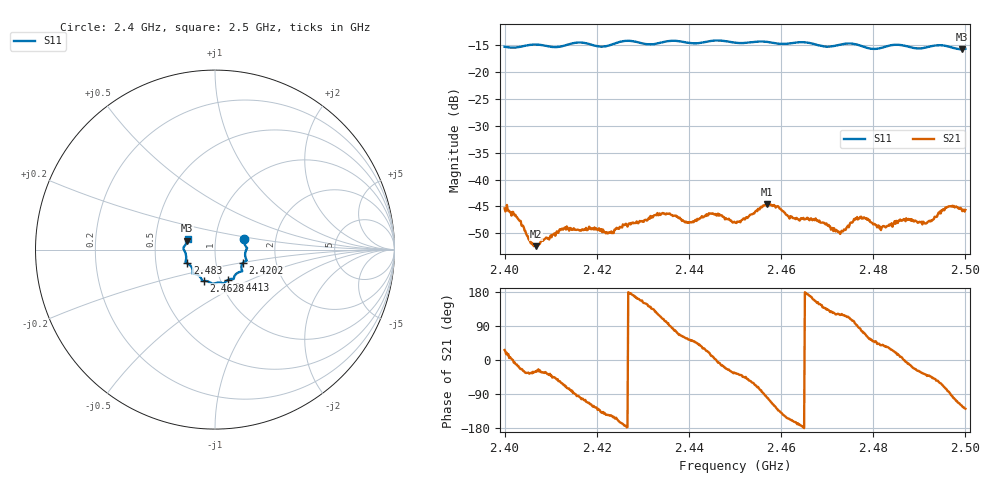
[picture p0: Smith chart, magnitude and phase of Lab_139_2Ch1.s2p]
# Hz S RI R 50
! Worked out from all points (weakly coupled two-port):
!   601 points, 2.4 GHz to 2.5 GHz, reference 50 ohm
!   highest |S21| = -44.57 dB at 2.457 GHz (marker M1); lowest = -52.4 dB at 2.4068 GHz (marker M2)
!   lowest |S11| = -15.8 dB at 2.4993 GHz (marker M3), VSWR 1.39, Z = 36.5 + j3.71 ohm
!   |S11| at or under -10 dB: start of sweep to end of sweep
!   S12 and S22 are empty: the file has one direction only
!   S11 on the Smith chart (normalised r, x): 2.4 GHz: 1.37, +0.16; 2.4202 GHz: 1.35, -0.20; 2.4413 GHz: 1.09, -0.38; 2.4628 GHz: 0.83, -0.30; 2.483 GHz: 0.72, -0.11; 2.5 GHz: 0.73, +0.09
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2.4e9  0.1606 0.0572  0.00483 0.0024  0 0  0 0
2.402167e9  0.164 0.0337  0.00462 -0.000484  0 0  0 0
2.406833e9  0.1789 0.00777  0.00206 -0.00125  0 0  0 0
2.4125e9  0.1686 -0.0373  0.00166 -0.00309  0 0  0 0
2.416667e9  0.1762 -0.0614  -0.000783 -0.00327  0 0  0 0
2.420167e9  0.1563 -0.0727  -0.00223 -0.00255  0 0  0 0
2.423167e9  0.147 -0.1007  -0.00276 -0.00182  0 0  0 0
2.433333e9  0.1081 -0.1486  -0.00231 0.00405  0 0  0 0
2.441333e9  0.0744 -0.1679  0.00286 0.00306  0 0  0 0
2.444833e9  0.0529 -0.1859  0.00475 0.000915  0 0  0 0
2.45e9  0.0292 -0.1838  0.0033 -0.00227  0 0  0 0
2.457e9  -0.0166 -0.1885  -0.000999 -0.00583  0 0  0 0
2.462833e9  -0.0631 -0.1747  -0.00417 -0.00127  0 0  0 0
2.466667e9  -0.0742 -0.1674  -0.00409 0.00109  0 0  0 0
2.472833e9  -0.1172 -0.1349  -0.00151 0.00274  0 0  0 0
2.476833e9  -0.1246 -0.1257  0.000335 0.00436  0 0  0 0
2.483e9  -0.1548 -0.0766  0.00306 0.00209  0 0  0 0
2.483333e9  -0.1569 -0.0757  0.00314 0.00199  0 0  0 0
2.491667e9  -0.1685 -0.00999  0.00293 -0.00266  0 0  0 0
2.496667e9  -0.1686 0.0208  0.000184 -0.00564  0 0  0 0
2.499333e9  -0.154 0.0496  -0.00273 -0.0043  0 0  0 0
2.5e9  -0.1525 0.0587  -0.00325 -0.00409  0 0  0 0
